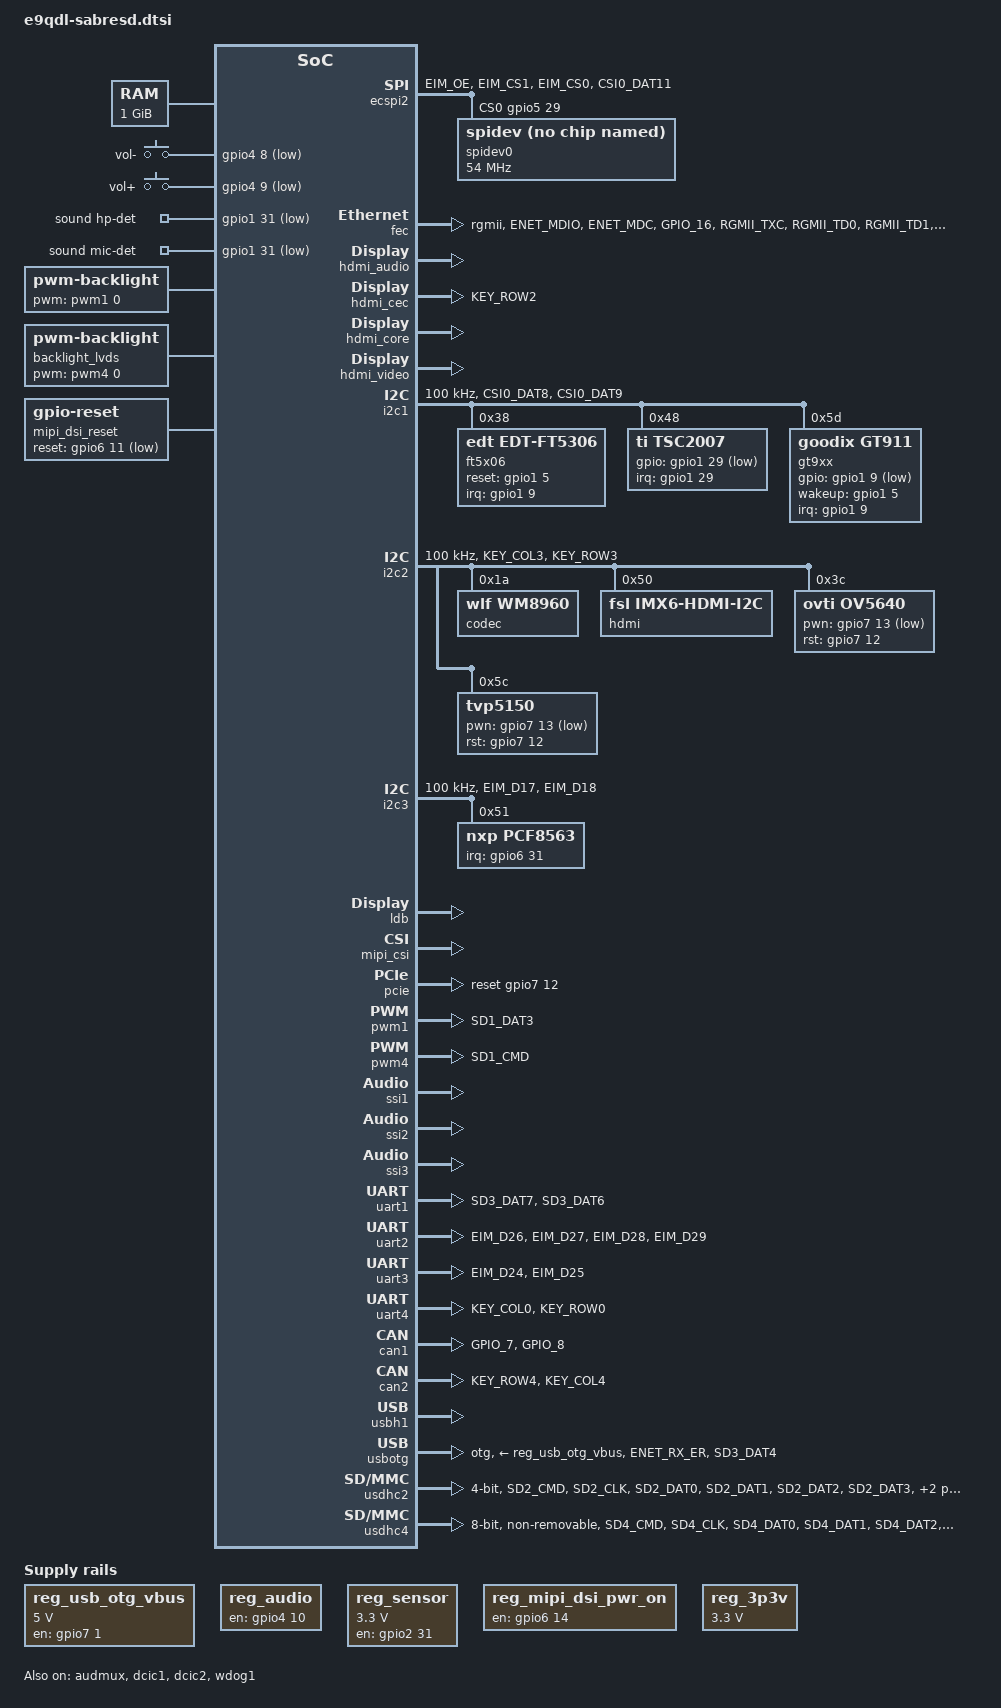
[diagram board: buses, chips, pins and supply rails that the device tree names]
/*
 * Copyright 2012-2015 Freescale Semiconductor, Inc.
 * Copyright 2011 Linaro Ltd.
 *
 * The code contained herein is licensed under the GNU General Public
 * License. You may obtain a copy of the GNU General Public License
 * Version 2 or later at the following locations:
 *
 * http://www.opensource.org/licenses/gpl-license.html
 * http://www.gnu.org/copyleft/gpl.html
 */

#include <dt-bindings/gpio/gpio.h>
#include <dt-bindings/input/input.h>

/ {
	aliases {
		mxcfb0 = &mxcfb1;
		mxcfb1 = &mxcfb2;
		mxcfb2 = &mxcfb3;
		mxcfb3 = &mxcfb4;
		usbotg = &usbotg;
	};

	battery: 
	/*max8903@0 {
		compatible = "fsl,max8903-charger";
		pinctrl-names = "default";
		dok_input = <&gpio2 24 1>;
		uok_input = <&gpio1 27 1>;
		chg_input = <&gpio3 23 1>;
		flt_input = <&gpio5 2 1>;
		fsl,dcm_always_high;
		fsl,dc_valid;
		fsl,usb_valid;
		status = "disabled";
	};*/

	hannstar_cabc {
		compatible = "hannstar,cabc";
		lvds0 {
			gpios = <&gpio6 15 GPIO_ACTIVE_HIGH>;
		};
		lvds1 {
			gpios = <&gpio6 16 GPIO_ACTIVE_HIGH>;
		};
	};

	chosen {
		stdout-path = &uart1;
	};
	/*
	leds {
		compatible = "gpio-leds";

		led4 {
				label = "led4";
				gpios = <&gpio3 21 0>;
				default-state = "on";
		};

		led5 {
				label = "led5";
				gpios = <&gpio3 22 0>;
				default-state = "off";
		};

		led6 {
				label = "led6";
				gpios = <&gpio3 23 0>;
				default-state = "on";
		};
		
	};*/

	memory: memory {
		reg = <0x10000000 0x40000000>;
	};

	regulators {
		compatible = "simple-bus";
		#address-cells = <1>;
		#size-cells = <0>;

		reg_usb_otg_vbus: regulator@0 {
			compatible = "regulator-fixed";
			reg = <0>;
			regulator-name = "usb_otg_vbus";
			regulator-min-microvolt = <5000000>;
			regulator-max-microvolt = <5000000>;
			gpio = <&gpio7 1 0>;
			enable-active-high;
		};

		reg_audio: regulator@2 {
			compatible = "regulator-fixed";
			reg = <2>;
			regulator-name = "wm8962-supply";
			gpio = <&gpio4 10 0>;
			enable-active-high;
		};

/*		reg_pcie: regulator@3 {
			compatible = "regulator-fixed";
			reg = <3>;
			pinctrl-names = "default";
			pinctrl-0 = <&pinctrl_pcie_reg>;
			regulator-name = "MPCIE_3V3";
			regulator-min-microvolt = <3300000>;
			regulator-max-microvolt = <3300000>;
			gpio = <&gpio3 19 0>;
			regulator-always-on;
			enable-active-high;
		};*/

		reg_sensor: regulator@4 {
			compatible = "regulator-fixed";
			reg = <4>;
			regulator-name = "sensor-supply";
			regulator-min-microvolt = <3300000>;
			regulator-max-microvolt = <3300000>;
			gpio = <&gpio2 31 0>;
			startup-delay-us = <500>;
			enable-active-high;
		};

		reg_mipi_dsi_pwr_on: mipi_dsi_pwr_on {
			compatible = "regulator-fixed";
			regulator-name = "mipi_dsi_pwr_on";
			gpio = <&gpio6 14 0>;
			enable-active-high;
		};
		
		reg_3p3v: 3p3v {  
			compatible = "regulator-fixed";  
			regulator-name = "3P3V";  
			regulator-min-microvolt = <3300000>;  
			regulator-max-microvolt = <3300000>;  
			regulator-always-on;  
		};
	};

	hs0038 {
                compatible = "hs0038";
                pinctrl-names = "default";
                pinctrl-0 = <&pinctrl_hs0038>;

        };

	gpio-keys {
		compatible = "gpio-keys";
		pinctrl-names = "default";
		pinctrl-0 = <&pinctrl_gpio_keys>;

		home {
			label = "vol-";
			gpios = <&gpio4 8 GPIO_ACTIVE_LOW>;
			gpio-key,wakeup;
			linux,code = <KEY_VOLUMEDOWN>;
		};

		enter {
			label = "vol+";
			gpios = <&gpio4 9 GPIO_ACTIVE_LOW>;
			gpio-key,wakeup;
			linux,code = <KEY_VOLUMEUP>;
		};

	};
	
	 /*sound {  
        compatible = "fsl,imx-audio-sgtl5000";  
        model = "imx6q-sgtl5000"; 
        ssi-controller = <&ssi2>;  
        audio-codec = <&codec>;  
        audio-routing =  
            "MIC_IN", "Mic Jack",  
            "Mic Jack", "Mic Bias",  
            "Headphone Jack", "HP_OUT";  
        mux-int-port = <2>;  
        mux-ext-port = <3>;  
	};*/
	sound {  
        compatible = "fsl,imx-audio-wm8960";  
        model = "wm8960-audio"; 		
		cpu-dai = <&ssi2>; //CPU DAI 的 phandle
		audio-codec = <&codec>; //音频编解码器的 phandle
		asrc-controller = <&asrc>;
		codec-master; //codec master 模式
		gpr = <&gpr>; //GPR 寄存器的 phandle		
		hp-det = <3 0>; //耳机相关的定义
		hp-det-gpios = <&gpio1 31 1>; //耳机检测口定义为 GPIO5， 第四个 IO 口， 默认电平为低
		mic-det-gpios = <&gpio1 31 1>; //耳机检测口定义为 GPIO5， 第四个 IO 口， 默认电平为低		
        mux-int-port = <2>;
		mux-ext-port = <3>;
		
		audio-routing =  
            "Headphone Jack", "HP_L", //HP_L --> Headphone Jack
			"Headphone Jack", "HP_R", //HP_R --> Headphone Jack
			"Ext Spk", "SPK_LP", //SPK_LP --> Ext Spk
			"Ext Spk", "SPK_LN", //SPK_LN --> Ext Spk
			"Ext Spk", "SPK_RP", //SPK_RP --> Ext Spk
			"Ext Spk", "SPK_RN", //SPK_RN --> Ext Spk
			"LINPUT2", "Mic Jack", //Mic Jack --> LINPUT2
			"LINPUT3", "Mic Jack", //Mic Jack --> LINPUT3
			"RINPUT1", "Main MIC", //Main MIC --> RINPUT1
			"RINPUT2", "Main MIC", //Main MIC --> RINPUT2
			"Mic Jack", "MICB", //MICB --> Mic Jack
			"Main MIC", "MICB", //MICB --> Main MIC			
			"CPU-Playback", "ASRC-Playback",
			"Playback", "CPU-Playback",
			"ASRC-Capture", "CPU-Capture",
			"CPU-Capture", "Capture";
	};

	sound-hdmi {
		compatible = "fsl,imx6q-audio-hdmi",
			     "fsl,imx-audio-hdmi";
		model = "imx-audio-hdmi";
		hdmi-controller = <&hdmi_audio>;
	};

	mxcfb1: fb@0 {
		compatible = "fsl,mxc_sdc_fb";
		disp_dev = "lcd";
		interface_pix_fmt = "RGB24";
		mode_str ="CLAA-WVGA";
		default_bpp = <24>;
		int_clk = <0>;
		late_init = <0>;
		status = "okay";
		
		/*compatible = "fsl,mxc_sdc_fb";
		disp_dev = "hdmi";
		interface_pix_fmt = "RGB24";
		mode_str ="1920x1080@60";
		default_bpp = <24>;
		int_clk = <0>;
		late_init = <0>;
		status = "okay";*/
		
		/*compatible = "fsl,mxc_sdc_fb";
		disp_dev = "ldb";
		interface_pix_fmt = "RGB666";
		default_bpp = <32>;
		int_clk = <0>;
		late_init = <0>;
		status = "okay";*/
	};

	mxcfb2: fb@1 {
		/*compatible = "fsl,mxc_sdc_fb";
		disp_dev = "lcd";
		interface_pix_fmt = "RGB24";
		mode_str ="CLAA-WVGA";
		default_bpp = <24>;
		int_clk = <0>;
		late_init = <0>;
		status = "okay";*/
			
	
		compatible = "fsl,mxc_sdc_fb";
		disp_dev = "hdmi";
		interface_pix_fmt = "RGB24";
		/*mode_str ="1920x1080M@60";*/
		default_bpp = <24>;
		int_clk = <0>;
		late_init = <0>;
		status = "okay";
		
	};

	mxcfb3: fb@2 {
		compatible = "fsl,mxc_sdc_fb";
		disp_dev = "ldb";
		interface_pix_fmt = "RGB666";
		default_bpp = <24>;
		int_clk = <0>;
		late_init = <0>;
		status = "okay";
	};

	mxcfb4: fb@3 {
		compatible = "fsl,mxc_sdc_fb";
		disp_dev = "ldb";
		interface_pix_fmt = "RGB666";
		default_bpp = <24>;
		int_clk = <0>;
		late_init = <0>;
		status = "okay";
	};

	lcd@0 {
		compatible = "fsl,lcd";
		ipu_id = <0>;
		disp_id = <0>;
		default_ifmt = "RGB24";
		pinctrl-names = "default";
		pinctrl-0 = <&pinctrl_ipu1>;
		status = "okay";
	};

	pwm-backlight {
		compatible = "pwm-backlight";
		pwms = <&pwm1 0 5000000>;
		brightness-levels = <
			0  /*1  2  3  4  5  6*/  7  8  9
			10 11 12 13 14 15 16 17 18 19
			20 21 22 23 24 25 26 27 28 29
			30 31 32 33 34 35 36 37 38 39
			40 41 42 43 44 45 46 47 48 49
			50 51 52 53 54 55 56 57 58 59
			60 61 62 63 64 65 66 67 68 69
			70 71 72 73 74 75 76 77 78 79
			80 81 82 83 84 85 86 87 88 89
			90 91 92 93 94 95 96 97 98 99
			100
                >;
		default-brightness-level = <94>;
		status = "okay";
	};
	
	backlight_lvds {
		compatible = "pwm-backlight";
		pwms = <&pwm4 0 5000000>;
		/*enable-gpios = <&gpio1 16 GPIO_ACTIVE_HIGH>;*/
		brightness-levels = <
			0  /*1  2  3  4  5  6*/  7  8  9
			10 11 12 13 14 15 16 17 18 19
			20 21 22 23 24 25 26 27 28 29
			30 31 32 33 34 35 36 37 38 39
			40 41 42 43 44 45 46 47 48 49
			50 51 52 53 54 55 56 57 58 59
			60 61 62 63 64 65 66 67 68 69
			70 71 72 73 74 75 76 77 78 79
			80 81 82 83 84 85 86 87 88 89
			90 91 92 93 94 95 96 97 98 99
			100
                >;
		default-brightness-level = <94>;
		status = "okay";
	};

	v4l2_cap_0 {
		compatible = "fsl,imx6q-v4l2-capture";
		ipu_id = <0>;
		csi_id = <0>;
		mclk_source = <0>;
		status = "okay";
	};

	v4l2_cap_1 {
		compatible = "fsl,imx6q-v4l2-capture";
		ipu_id = <0>;
		csi_id = <1>;
		mclk_source = <0>;
		status = "okay";
	};

	v4l2_out {
		compatible = "fsl,mxc_v4l2_output";
		status = "okay";
	};

	mipi_dsi_reset: mipi-dsi-reset {
		compatible = "gpio-reset";
		reset-gpios = <&gpio6 11 GPIO_ACTIVE_LOW>;
		reset-delay-us = <50>;
		#reset-cells = <0>;
	};

	ramoops_device {
		compatible = "fsl,mxc_ramoops";
		record_size = <524288>; /*512K*/
		console_size = <262144>; /*256K*/
		ftrace_size = <262144>;  /*256K*/
		dump_oops = <1>;
		status = "okay";
	};
	caam_keyblob {
		compatible = "fsl,sec-v4.0-keyblob";
	};
};

&audmux {
	pinctrl-names = "default";
	pinctrl-0 = <&pinctrl_audmux>;
	status = "okay";
};

&cpu0 {
};

&clks {
	fsl,ldb-di0-parent = <&clks IMX6QDL_CLK_PLL2_PFD0_352M>;
	fsl,ldb-di1-parent = <&clks IMX6QDL_CLK_PLL2_PFD0_352M>;
};

&ecspi1 {
	fsl,spi-num-chipselects = <1>;
	cs-gpios = <&gpio4 9 0>;
	pinctrl-names = "default";
	pinctrl-0 = <&pinctrl_ecspi1>;
	status = "disabled";

	flash: m25p80@0 {
		#address-cells = <1>;
		#size-cells = <1>;
		compatible = "st,m25p32";
		spi-max-frequency = <20000000>;
		reg = <0>;
	};
};

&ecspi2 {
        pinctrl-names = "default";
        pinctrl-0 = <&pinctrl_ecspi2>;
        fsl,spi-num-chipselects = <1>;
        cs-gpios = <&gpio5 29 GPIO_ACTIVE_HIGH>;
        status = "okay";

        spidev0: spi@0 {
                compatible = "rohm,dh2228fv";
                reg = <0>;
                spi-max-frequency = <54000000>;
        };
};


&fec {
	pinctrl-names = "default";
	pinctrl-0 = <&pinctrl_enet>;
	phy-mode = "rgmii";
	phy-reset-gpios = <&gpio1 25 0>;
	fsl,magic-packet;
	status = "okay";
};

&gpc {
	fsl,ldo-bypass = <1>;
};

&dcic1 {
	dcic_id = <0>;
	dcic_mux = "dcic-hdmi";
	status = "okay";
};

&dcic2 {
	dcic_id = <1>;
	dcic_mux = "dcic-lvds1";
	status = "okay";
};

&hdmi_audio {
	status = "okay";
};

&hdmi_cec {
	pinctrl-names = "default";
	pinctrl-0 = <&pinctrl_hdmi_cec>;
	status = "okay";
};

&hdmi_core {
	ipu_id = <0>;
	disp_id = <1>;
	status = "okay";
};

&hdmi_video {
	fsl,phy_reg_vlev = <0x0294>;
	fsl,phy_reg_cksymtx = <0x800d>;
	status = "okay";
};

&i2c1 {
	clock-frequency = <100000>;
	pinctrl-names = "default";
	pinctrl-0 = <&pinctrl_i2c1>;
	status = "okay";
	
	ft5x06@38 {
		compatible = "edt,edt-ft5306";
		reg = <0x38>;
		interrupt-parent = <&gpio1>;
		interrupts = <9 2>;
		reset-gpios = <&gpio1 5 GPIO_ACTIVE_HIGH>;
	};

	tsc2007@48 {
		compatible = "ti,tsc2007";
		reg = <0x48>;
		pinctrl-names = "default";
		pinctrl-0 = <&pinctrl_i2c1_tsc2007_int>;
		interrupt-parent = <&gpio1>;
		interrupts = <29 8>;
		gpios = <&gpio1 29 GPIO_ACTIVE_LOW>;
		ti,x-plate-ohms = <660>;
	};

	gt9xx@5d {
		compatible = "goodix,gt911";
		reg = <0x5d>;
	/*	pinctrl-names = "default";
		pinctrl-0 = <&pinctrl_i2c1_ts_int>;*/
		interrupt-parent = <&gpio1>;
		interrupts = <9 2>;
		gpios = <&gpio1 9 GPIO_ACTIVE_LOW>;
		wakeup-gpios = <&gpio1 5 GPIO_ACTIVE_HIGH>;
	};
};

&i2c2 {
	clock-frequency = <100000>;
	pinctrl-names = "default";
	pinctrl-0 = <&pinctrl_i2c2>;
	status = "okay";

	/*codec: sgtl5000@0a {  
        compatible = "fsl,sgtl5000";  
        reg = <0x0a>;  
        pinctrl-names = "default";
        pinctrl-0 = <&pinctrl_sgtl5000>;
        clocks = <&clks 201>;  
        micbias-resistor-k-ohms = <1>;
        micbias-voltage-m-volts = <3000>;
        VDDA-supply = <&reg_3p3v>;  
        VDDIO-supply = <&reg_3p3v>;  
    };   */
    codec: wm8960@1a {  
        compatible = "wlf,wm8960";  
        reg = <0x1a>;          
        clocks = <&clks IMX6QDL_CLK_CKO>; 
		clock-names = "mclk"; //时钟的命名 Index 值
        wlf,capless;
		wlf,shared-lrclk;		
    };
    hdmi: edid@50 {
		compatible = "fsl,imx6-hdmi-i2c";
		reg = <0x50>;
	};
    
#if 0
	ov3640: ov3640@3c {
		compatible = "ovti,ov3640";
		reg = <0x3c>;
		pinctrl-names = "default";
		pinctrl-0 = <&pinctrl_ipu1_2>;
		clocks = <&clks IMX6QDL_CLK_CKO>;
		clock-names = "csi_mclk";
		pwn-gpios = <&gpio7 13 1>;   /* active low: SD1_DAT0 */
		rst-gpios = <&gpio7 12 0>;   /* active high: SD1_DAT1 */
		csi_id = <0>;
		mclk = <24000000>;
		mclk_source = <0>;
	};
#else
	ov5640: ov5640@3c {
		compatible = "ovti,ov5640";
		reg = <0x3c>;
		pinctrl-names = "default";
		pinctrl-0 = <&pinctrl_ipu1_2>;
		clocks = <&clks IMX6QDL_CLK_CKO>;
		clock-names = "csi_mclk";
		pwn-gpios = <&gpio7 13 1>;   /* active low: SD1_DAT0 */
		rst-gpios = <&gpio7 12 0>;   /* active high: SD1_DAT1 */
		csi_id = <0>;
		mclk = <24000000>;
		mclk_source = <0>;
	};
#endif
	tvp5150: tvp5150@5c {
                compatible = "tvp5150";
                reg = <0x5c>;
                pinctrl-names = "default";
                pinctrl-0 = <&pinctrl_ipu1_2>;
                clocks = <&clks IMX6QDL_CLK_CKO>;
                clock-names = "csi_mclk";
                pwn-gpios = <&gpio7 13 1>;   /* active low: SD1_DAT0 */
                rst-gpios = <&gpio7 12 0>;   /* active high: SD1_DAT1 */
                csi_id = <0>;
                mclk = <24000000>;
                mclk_source = <0>;
        };
};

&i2c3 {
	clock-frequency = <100000>;
	pinctrl-names = "default";
	pinctrl-0 = <&pinctrl_i2c3>;
	status = "okay";

	pcf8563@51 {
		compatible = "nxp,pcf8563";
		reg = <0x51>;
		interrupt-parent = <&gpio6>;
        interrupts = <31 2>;
	};
	
};

&iomuxc {
	pinctrl-names = "default";
	pinctrl-0 = <&pinctrl_hog>;

	imx6qdl-sabresd {
		pinctrl_hog: hoggrp {
			fsl,pins = <
				MX6QDL_PAD_NANDF_D0__GPIO2_IO00 0x80000000
				MX6QDL_PAD_NANDF_D1__GPIO2_IO01 0x80000000
				MX6QDL_PAD_NANDF_D2__GPIO2_IO02 0x80000000
				MX6QDL_PAD_NANDF_D3__GPIO2_IO03 0x80000000				
				MX6QDL_PAD_ENET_CRS_DV__GPIO1_IO25 0x80000000
			/*	MX6QDL_PAD_EIM_D26__GPIO3_IO26 0x80000000	*/
		/*		MX6QDL_PAD_EIM_CS1__GPIO2_IO24 0x80000000*/
				MX6QDL_PAD_ENET_RXD0__GPIO1_IO27 0x80000000
				MX6QDL_PAD_EIM_A25__GPIO5_IO02 0x80000000
				MX6QDL_PAD_EIM_D21__GPIO3_IO21 0x80000000	/*led4*/
				MX6QDL_PAD_EIM_D22__GPIO3_IO22 0x80000000	/*led5*/
				MX6QDL_PAD_EIM_D23__GPIO3_IO23 0x80000000	/*led6*/
				MX6QDL_PAD_EIM_EB3__GPIO2_IO31 0x80000000
			/*	MX6QDL_PAD_SD1_CMD__GPIO1_IO18 0x80000000*/
				MX6QDL_PAD_EIM_D16__GPIO3_IO16 0x80000000
				MX6QDL_PAD_SD3_RST__GPIO7_IO08	0x80000000
				MX6QDL_PAD_GPIO_9__GPIO1_IO09 	0x80000000
				MX6QDL_PAD_GPIO_5__GPIO1_IO05 	0x80000000
				MX6QDL_PAD_EIM_DA9__GPIO3_IO09 0x80000000
				MX6QDL_PAD_NANDF_CS0__GPIO6_IO11 0x80000000
				MX6QDL_PAD_NANDF_CS1__GPIO6_IO14 0x80000000
				MX6QDL_PAD_NANDF_CS2__GPIO6_IO15 0x80000000
				MX6QDL_PAD_NANDF_CS3__GPIO6_IO16 0x80000000

				MX6QDL_PAD_GPIO_18__GPIO7_IO13 0x80000000
                MX6QDL_PAD_GPIO_17__GPIO7_IO12 0x80000000
				MX6QDL_PAD_SD3_DAT0__GPIO7_IO04	0x80000000
				MX6QDL_PAD_SD3_DAT1__GPIO7_IO05	0x80000000
				MX6QDL_PAD_SD3_DAT2__GPIO7_IO06	0x80000000
				MX6QDL_PAD_SD3_DAT3__GPIO7_IO07	0x80000000
			>;
		};

		pinctrl_audmux: audmuxgrp {
			fsl,pins = <
				MX6QDL_PAD_CSI0_DAT7__AUD3_RXD		0x130b0
				MX6QDL_PAD_CSI0_DAT4__AUD3_TXC		0x130b0
				MX6QDL_PAD_CSI0_DAT5__AUD3_TXD		0x110b0
				MX6QDL_PAD_CSI0_DAT6__AUD3_TXFS		0x130b0
				
			>;
		};

		pinctrl_ecspi1: ecspi1grp {
			fsl,pins = <
				MX6QDL_PAD_KEY_COL1__ECSPI1_MISO	0x100b1
				MX6QDL_PAD_KEY_ROW0__ECSPI1_MOSI	0x100b1
				MX6QDL_PAD_KEY_COL0__ECSPI1_SCLK	0x100b1
				MX6QDL_PAD_KEY_ROW1__GPIO4_IO09		0x1b0b0
			>;
		};

		pinctrl_ecspi2: ecspi2grp {
                        fsl,pins = <
                                MX6QDL_PAD_EIM_OE__ECSPI2_MISO        0x100b1
                                MX6QDL_PAD_EIM_CS1__ECSPI2_MOSI        0x100b1
                                MX6QDL_PAD_EIM_CS0__ECSPI2_SCLK        0x100b1
                                MX6QDL_PAD_CSI0_DAT11__GPIO5_IO29         0x80000000
                        >;
                };

		
		pinctrl_i2c1_tsc2007_int: i2c1_tsc2007_int {
			fsl,pins = <
				MX6QDL_PAD_ENET_TXD1__GPIO1_IO29	0x00010080
			>;
		};
		
		pinctrl_i2c1_ts_int: i2c1_ts_int {
			fsl,pins = <
				MX6QDL_PAD_GPIO_9__GPIO1_IO09 	0x80000000
				MX6QDL_PAD_GPIO_5__GPIO1_IO05 	0x80000000
			>;
		};

		pinctrl_i2c2_egalax_int: egalax_i2c2_intgrp {
			fsl,pins = <
				MX6QDL_PAD_NANDF_ALE__GPIO6_IO08 0x80000000
			>;
		};

		pinctrl_i2c3_egalax_int: egalax_i2c3_intgrp {
			fsl,pins = <
				MX6QDL_PAD_NANDF_CLE__GPIO6_IO07 0x80000000
			>;
		};

		pinctrl_enet: enetgrp {
			fsl,pins = <
				MX6QDL_PAD_ENET_MDIO__ENET_MDIO         0x1b8b0
				MX6QDL_PAD_ENET_MDC__ENET_MDC           0x1b0b0
				/* AR8035 reset */
				/* AR8035 interrupt */
				/* GPIO16 -> AR8035 25MHz */
				MX6QDL_PAD_GPIO_16__ENET_REF_CLK        0xc0000000
				MX6QDL_PAD_RGMII_TXC__RGMII_TXC         0x80000000
				MX6QDL_PAD_RGMII_TD0__RGMII_TD0         0x1b030
				MX6QDL_PAD_RGMII_TD1__RGMII_TD1         0x1b030
				MX6QDL_PAD_RGMII_TD2__RGMII_TD2         0x1b030
				MX6QDL_PAD_RGMII_TD3__RGMII_TD3         0x1b030
				MX6QDL_PAD_RGMII_TX_CTL__RGMII_TX_CTL   0x1b030
				/* AR8035 CLK_25M --> ENET_REF_CLK (V22) */
				MX6QDL_PAD_ENET_REF_CLK__ENET_TX_CLK    0x0a0b1
				/* AR8035 pin strapping: IO voltage: pull up */
				MX6QDL_PAD_RGMII_RXC__RGMII_RXC         0x1b030
				/* AR8035 pin strapping: PHYADDR#0: pull down */
				MX6QDL_PAD_RGMII_RD0__RGMII_RD0         0x13030
				/* AR8035 pin strapping: PHYADDR#1: pull down */
				MX6QDL_PAD_RGMII_RD1__RGMII_RD1         0x13030
				/* AR8035 pin strapping: MODE#1: pull up */
				MX6QDL_PAD_RGMII_RD2__RGMII_RD2         0x1b030
				/* AR8035 pin strapping: MODE#3: pull up */
				MX6QDL_PAD_RGMII_RD3__RGMII_RD3         0x1b030
				/* AR8035 pin strapping: MODE#0: pull down */
				MX6QDL_PAD_RGMII_RX_CTL__RGMII_RX_CTL   0x13030
			>;
		};

		pinctrl_enet_irq: enetirqgrp {
			fsl,pins = <
				MX6QDL_PAD_GPIO_6__ENET_IRQ		0x000b1
			>;
		};

		pinctrl_gpio_keys: gpio_keysgrp {
			fsl,pins = <
				MX6QDL_PAD_KEY_COL1__GPIO4_IO08	0x1b0b0
				MX6QDL_PAD_KEY_ROW1__GPIO4_IO09	0x1b0b0
			>;
		};

		pinctrl_hdmi_cec: hdmicecgrp {
			fsl,pins = <
				MX6QDL_PAD_KEY_ROW2__HDMI_TX_CEC_LINE 0x108b0
			>;
		};

		pinctrl_hdmi_hdcp: hdmihdcpgrp {
			fsl,pins = <
				MX6QDL_PAD_KEY_COL3__HDMI_TX_DDC_SCL 0x4001b8b1
				MX6QDL_PAD_KEY_ROW3__HDMI_TX_DDC_SDA 0x4001b8b1
			>;
		};

		pinctrl_i2c1: i2c1grp {
			fsl,pins = <
				MX6QDL_PAD_CSI0_DAT8__I2C1_SDA		0x4001b8b1
				MX6QDL_PAD_CSI0_DAT9__I2C1_SCL		0x4001b8b1
			>;
		};

		pinctrl_i2c2: i2c2grp {
			fsl,pins = <
				MX6QDL_PAD_KEY_COL3__I2C2_SCL		0x4001b8b1
				MX6QDL_PAD_KEY_ROW3__I2C2_SDA		0x4001b8b1
			>;
		};

		pinctrl_i2c3: i2c3grp {
			fsl,pins = <
				MX6QDL_PAD_EIM_D17__I2C3_SCL	0x4001b8b1
				MX6QDL_PAD_EIM_D18__I2C3_SDA	0x4001b8b1
			>;
		};

		pinctrl_ipu1: ipu1grp {
			fsl,pins = <
				MX6QDL_PAD_DI0_DISP_CLK__IPU1_DI0_DISP_CLK 0x10
				MX6QDL_PAD_DI0_PIN15__IPU1_DI0_PIN15       0x10
				MX6QDL_PAD_DI0_PIN2__IPU1_DI0_PIN02        0x10
				MX6QDL_PAD_DI0_PIN3__IPU1_DI0_PIN03        0x10
				MX6QDL_PAD_DI0_PIN4__IPU1_DI0_PIN04        0x80000000
				MX6QDL_PAD_DISP0_DAT0__IPU1_DISP0_DATA00   0x10
				MX6QDL_PAD_DISP0_DAT1__IPU1_DISP0_DATA01   0x10
				MX6QDL_PAD_DISP0_DAT2__IPU1_DISP0_DATA02   0x10
				MX6QDL_PAD_DISP0_DAT3__IPU1_DISP0_DATA03   0x10
				MX6QDL_PAD_DISP0_DAT4__IPU1_DISP0_DATA04   0x10
				MX6QDL_PAD_DISP0_DAT5__IPU1_DISP0_DATA05   0x10
				MX6QDL_PAD_DISP0_DAT6__IPU1_DISP0_DATA06   0x10
				MX6QDL_PAD_DISP0_DAT7__IPU1_DISP0_DATA07   0x10
				MX6QDL_PAD_DISP0_DAT8__IPU1_DISP0_DATA08   0x10
				MX6QDL_PAD_DISP0_DAT9__IPU1_DISP0_DATA09   0x10
				MX6QDL_PAD_DISP0_DAT10__IPU1_DISP0_DATA10  0x10
				MX6QDL_PAD_DISP0_DAT11__IPU1_DISP0_DATA11  0x10
				MX6QDL_PAD_DISP0_DAT12__IPU1_DISP0_DATA12  0x10
				MX6QDL_PAD_DISP0_DAT13__IPU1_DISP0_DATA13  0x10
				MX6QDL_PAD_DISP0_DAT14__IPU1_DISP0_DATA14  0x10
				MX6QDL_PAD_DISP0_DAT15__IPU1_DISP0_DATA15  0x10
				MX6QDL_PAD_DISP0_DAT16__IPU1_DISP0_DATA16  0x10
				MX6QDL_PAD_DISP0_DAT17__IPU1_DISP0_DATA17  0x10
				MX6QDL_PAD_DISP0_DAT18__IPU1_DISP0_DATA18  0x10
				MX6QDL_PAD_DISP0_DAT19__IPU1_DISP0_DATA19  0x10
				MX6QDL_PAD_DISP0_DAT20__IPU1_DISP0_DATA20  0x10
				MX6QDL_PAD_DISP0_DAT21__IPU1_DISP0_DATA21  0x10
				MX6QDL_PAD_DISP0_DAT22__IPU1_DISP0_DATA22  0x10
				MX6QDL_PAD_DISP0_DAT23__IPU1_DISP0_DATA23  0x10
			>;
		};

		pinctrl_ipu1_2: ipu1grp-2 { /* parallel camera */
			fsl,pins = <
				MX6QDL_PAD_CSI0_DAT12__IPU1_CSI0_DATA12    0x80000000
				MX6QDL_PAD_CSI0_DAT13__IPU1_CSI0_DATA13    0x80000000
				MX6QDL_PAD_CSI0_DAT14__IPU1_CSI0_DATA14    0x80000000
				MX6QDL_PAD_CSI0_DAT15__IPU1_CSI0_DATA15    0x80000000
				MX6QDL_PAD_CSI0_DAT16__IPU1_CSI0_DATA16    0x80000000
				MX6QDL_PAD_CSI0_DAT17__IPU1_CSI0_DATA17    0x80000000
				MX6QDL_PAD_CSI0_DAT18__IPU1_CSI0_DATA18    0x80000000
				MX6QDL_PAD_CSI0_DAT19__IPU1_CSI0_DATA19    0x80000000
				MX6QDL_PAD_CSI0_DATA_EN__IPU1_CSI0_DATA_EN 0x80000000
				MX6QDL_PAD_CSI0_PIXCLK__IPU1_CSI0_PIXCLK   0x80000000
				MX6QDL_PAD_CSI0_MCLK__IPU1_CSI0_HSYNC      0x80000000
				MX6QDL_PAD_CSI0_VSYNC__IPU1_CSI0_VSYNC     0x80000000
				MX6QDL_PAD_SD1_DAT1__GPIO1_IO17            0x80000000
				MX6QDL_PAD_SD1_DAT0__GPIO1_IO16            0x80000000
			>;
		};

		pinctrl_pcie: pciegrp {
			fsl,pins = <
				/*MX6QDL_PAD_GPIO_17__GPIO7_IO12	0x1b0b0*/
			>;
		};

		pinctrl_pcie_reg: pciereggrp {
			fsl,pins = <
			/*	MX6QDL_PAD_EIM_D19__GPIO3_IO19	0x1b0b0*/
			>;
		};

		pinctrl_pwm1: pwm1grp {
			fsl,pins = <
				MX6QDL_PAD_SD1_DAT3__PWM1_OUT		0x1b0b1
			>;
		};
		
		pinctrl_pwm4: pwm4grp {
			fsl,pins = <
				MX6QDL_PAD_SD1_CMD__PWM4_OUT		0x1b0b1
			>;
		};

		pinctrl_uart1: uart1grp {
			fsl,pins = <
		MX6QDL_PAD_SD3_DAT7__UART1_TX_DATA 0x1b0b1  
                MX6QDL_PAD_SD3_DAT6__UART1_RX_DATA 0x1b0b1		
//		MX6QDL_PAD_EIM_D20__UART1_RTS_B         0x1b0b1  
 //               MX6QDL_PAD_EIM_D19__UART1_CTS_B         0x1b0b1 
			>;
		};
		
		pinctrl_uart2: uart2grp {
             fsl,pins = <  
                MX6QDL_PAD_EIM_D26__UART2_TX_DATA   0x1b0b1  
                MX6QDL_PAD_EIM_D27__UART2_RX_DATA   0x1b0b1  
		MX6QDL_PAD_EIM_D28__UART2_CTS_B 0x1b0b1  
                MX6QDL_PAD_EIM_D29__UART2_RTS_B 0x1b0b1  
             >;  
        };
	
	    pinctrl_uart3: uart3grp {
             fsl,pins = <  
                MX6QDL_PAD_EIM_D24__UART3_TX_DATA   0x1b0b1  
                MX6QDL_PAD_EIM_D25__UART3_RX_DATA   0x1b0b1      
             >;  
        };
        
	    pinctrl_uart4: uart4grp {
             fsl,pins = <    
                MX6QDL_PAD_KEY_COL0__UART4_TX_DATA   0x1b0b1  
                MX6QDL_PAD_KEY_ROW0__UART4_RX_DATA   0x1b0b1
             >;  
        };
        
        pinctrl_uart5: uart5grp {
             fsl,pins = <    
                MX6QDL_PAD_KEY_COL1__UART5_TX_DATA   0x1b0b1  
                MX6QDL_PAD_KEY_ROW1__UART5_RX_DATA   0x1b0b1
             >;  
        };
        
        pinctrl_flexcan1: flexcan1grp {
			fsl,pins = <
				MX6QDL_PAD_GPIO_7__FLEXCAN1_TX 0x1b0b0
				MX6QDL_PAD_GPIO_8__FLEXCAN1_RX 0x1b0b0
			>;
		};

	pinctrl_flexcan2: flexcan2grp {
                        fsl,pins = <
                                MX6QDL_PAD_KEY_ROW4__FLEXCAN2_RX 0x1b0b0
                                MX6QDL_PAD_KEY_COL4__FLEXCAN2_TX 0x1b0b0
                        >;
                };

		pinctrl_usbotg: usbotggrp {
			fsl,pins = <
				MX6QDL_PAD_ENET_RX_ER__USB_OTG_ID	0x17059
				MX6QDL_PAD_SD3_DAT4__GPIO7_IO01		0x17059
			>;
		};

		pinctrl_usdhc2: usdhc2grp {
			fsl,pins = <
				MX6QDL_PAD_SD2_CMD__SD2_CMD		0x17059
				MX6QDL_PAD_SD2_CLK__SD2_CLK		0x10059
				MX6QDL_PAD_SD2_DAT0__SD2_DATA0		0x17059
				MX6QDL_PAD_SD2_DAT1__SD2_DATA1		0x17059
				MX6QDL_PAD_SD2_DAT2__SD2_DATA2		0x17059
				MX6QDL_PAD_SD2_DAT3__SD2_DATA3		0x17059
				MX6QDL_PAD_GPIO_4__GPIO1_IO04		0x80000000
			>;
		};

/*		pinctrl_usdhc3: usdhc3grp {
			fsl,pins = <
				MX6QDL_PAD_SD3_CMD__SD3_CMD		0x17059
				MX6QDL_PAD_SD3_CLK__SD3_CLK		0x10059
				MX6QDL_PAD_SD3_DAT0__SD3_DATA0		0x17059
				MX6QDL_PAD_SD3_DAT1__SD3_DATA1		0x17059
				MX6QDL_PAD_SD3_DAT2__SD3_DATA2		0x17059
				MX6QDL_PAD_SD3_DAT3__SD3_DATA3		0x17059
			>;
		};
*/
		pinctrl_usdhc4: usdhc4grp {
			fsl,pins = <
				MX6QDL_PAD_SD4_CMD__SD4_CMD		0x17059
				MX6QDL_PAD_SD4_CLK__SD4_CLK		0x10059
				MX6QDL_PAD_SD4_DAT0__SD4_DATA0		0x17059
				MX6QDL_PAD_SD4_DAT1__SD4_DATA1		0x17059
				MX6QDL_PAD_SD4_DAT2__SD4_DATA2		0x17059
				MX6QDL_PAD_SD4_DAT3__SD4_DATA3		0x17059
				MX6QDL_PAD_SD4_DAT4__SD4_DATA4		0x17059
				MX6QDL_PAD_SD4_DAT5__SD4_DATA5		0x17059
				MX6QDL_PAD_SD4_DAT6__SD4_DATA6		0x17059
				MX6QDL_PAD_SD4_DAT7__SD4_DATA7		0x17059
			>;
		};

		pinctrl_wdog: wdoggrp {
			fsl,pins = <
				MX6QDL_PAD_GPIO_1__WDOG2_B 0x80000000
			>;
		};
	};

	pinctrl_sgtl5000: sgtl5000 {
		fsl,pins = <
		/*		MX6QDL_PAD_DISP0_DAT19__AUD5_RXD 0x130b0
				MX6QDL_PAD_KEY_COL0__AUD5_TXC 0x130b0
				MX6QDL_PAD_KEY_ROW0__AUD5_TXD 0x110b0
				MX6QDL_PAD_KEY_COL1__AUD5_TXFS 0x130b0
				MX6QDL_PAD_GPIO_5__CCM_CLKO1 0x130b0	*//*ts rst*/
		>;
	};
	/*pinctrl_wm8960: wm8960 {
		fsl,pins = <
				MX6QDL_PAD_CSI0_DAT7__AUD3_RXD 0x130b0
				MX6QDL_PAD_CSI0_DAT4__AUD3_TXC 0x130b0
				MX6QDL_PAD_CSI0_DAT5__AUD3_TXD 0x110b0
				MX6QDL_PAD_CSI0_DAT6__AUD3_TXFS 0x130b0
				MX6QDL_PAD_GPIO_0__CCM_CLKO1 0x130b0
		>;
	};*/

	gpio_leds {
		pinctrl_gpio_leds: gpioledsgrp {
			fsl,pins = <
				MX6QDL_PAD_GPIO_2__GPIO1_IO02 0x1b0b0
			>;
		};
	};

	pinctrl_hs0038: hs0038 {
                fsl,pins = <
                        MX6QDL_PAD_GPIO_6__ENET_IRQ 0x000b1
                >;
        };

};

&ldb {
	status = "okay";
	dual-mode = <1>;
	
	lvds-channel@0 {
		fsl,data-mapping = "spwg";
		fsl,data-width = <18>;
		status = "okay";

		display-timings {
			native-mode = <&timing0>;
			timing0: hsd100pxn1 {
				clock-frequency = <65000000>;
				hactive = <1360>;
				vactive = <768>;
				hback-porch = <220>;
				hfront-porch = <40>;
				vback-porch = <21>;
				vfront-porch = <7>;
				hsync-len = <60>;
				vsync-len = <10>;
			};
		};
	};

	lvds-channel@1 {
		fsl,data-mapping = "spwg";
		fsl,data-width = <18>;
		primary;
		status = "okay";

		display-timings {
			native-mode = <&timing1>;
			timing1: hsd100pxn1 {
				clock-frequency = <65000000>;
				hactive = <1024>;
				vactive = <768>;
				hback-porch = <220>;
				hfront-porch = <40>;
				vback-porch = <21>;
				vfront-porch = <7>;
				hsync-len = <60>;
				vsync-len = <10>;
			};
		};
	};
};

&mipi_csi {
	status = "okay";
	ipu_id = <0>;
	csi_id = <1>;
	v_channel = <0>;
	lanes = <2>;
};

&mipi_dsi {
	dev_id = <0>;
	disp_id = <1>;
	lcd_panel = "TRULY-WVGA";
	disp-power-on-supply = <&reg_mipi_dsi_pwr_on>;
	resets = <&mipi_dsi_reset>;
	status = "disabled";
};

&pcie {
	pinctrl-names = "default";
	pinctrl-0 = <&pinctrl_pcie>;
	reset-gpio = <&gpio7 12 0>;
	status = "okay";
};

&pwm1 {
	pinctrl-names = "default";
	pinctrl-0 = <&pinctrl_pwm1>;
	status = "okay";
};

&pwm4 {
	pinctrl-names = "default";
	pinctrl-0 = <&pinctrl_pwm4>;
	status = "okay";
};

&snvs_poweroff {
	status = "disabled";
};

&ssi1 {
	//fsl,mode = "i2s-slave";
	status = "okay";
};

&ssi2 {
	//fsl,mode = "i2s-slave";
	status = "okay";
};
&ssi3 {
	status = "okay";
};

&uart1 {
	pinctrl-names = "default";
	pinctrl-0 = <&pinctrl_uart1>;
	status = "okay";
};

&uart2 {
	pinctrl-names = "default";
	pinctrl-0 = <&pinctrl_uart2>;
	status = "okay";
};

&uart3 {
	pinctrl-names = "default";
	pinctrl-0 = <&pinctrl_uart3>;
	status = "okay";
};

&uart4 {
	pinctrl-names = "default";
	pinctrl-0 = <&pinctrl_uart4>;
	status = "okay";
};

&can1 {
	pinctrl-names = "default";
	pinctrl-0 = <&pinctrl_flexcan1>;
	status = "okay";
};

&can2 {
        pinctrl-names = "default";
        pinctrl-0 = <&pinctrl_flexcan2>;
        status = "okay";
};


&usbh1 {
	status = "okay";
};

&usbotg {
	vbus-supply = <&reg_usb_otg_vbus>;
	pinctrl-names = "default";
	pinctrl-0 = <&pinctrl_usbotg>;
	dr_mode = "otg";
	disable-over-current;
	status = "okay";
};

&usbphy1 {
	tx-d-cal = <0x5>;
};

&usbphy2 {
	tx-d-cal = <0x5>;
};

&usdhc2 {
	pinctrl-names = "default";
	pinctrl-0 = <&pinctrl_usdhc2>;
	bus-width = <4>;
	cd-gpios = <&gpio1 4 GPIO_ACTIVE_LOW>;
/*	wp-gpios = <&gpio1 4 GPIO_ACTIVE_HIGH>;*/
	disable-wp;
	no-1-8-v;
	keep-power-in-suspend;
	enable-sdio-wakeup;
	status = "okay";
};

/*&usdhc3 {
	pinctrl-names = "default";
	pinctrl-0 = <&pinctrl_usdhc3>;
	bus-width = <8>;
	cd-gpios = <&gpio2 0 GPIO_ACTIVE_LOW>;
	wp-gpios = <&gpio2 1 GPIO_ACTIVE_HIGH>;
	no-1-8-v;
	keep-power-in-suspend;
	enable-sdio-wakeup;
	status = "disabled";
};*/

&usdhc4 {
	pinctrl-names = "default";
	pinctrl-0 = <&pinctrl_usdhc4>;
	bus-width = <8>;
	non-removable;
	no-1-8-v;
	keep-power-in-suspend;
	status = "okay";
};

&wdog1 {
	status = "okay";
};

&wdog2 {
	pinctrl-names = "default";
	pinctrl-0 = <&pinctrl_wdog>;
	fsl,wdog_b;
	status = "disabled";
};
